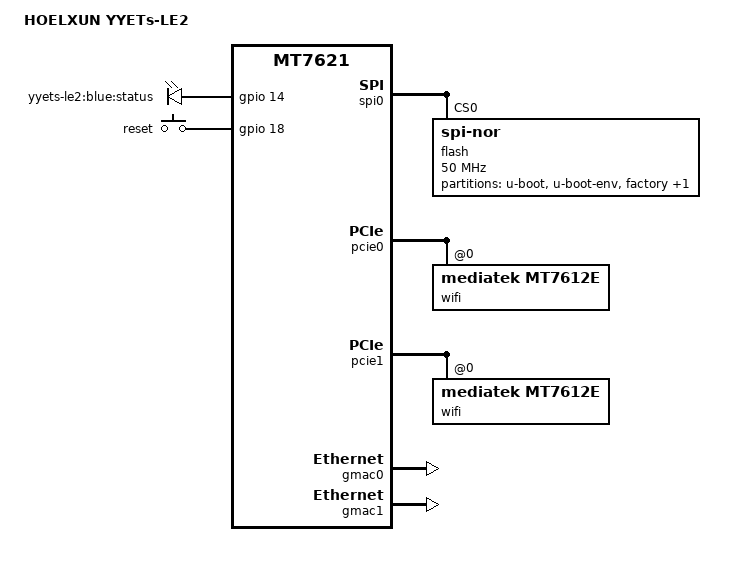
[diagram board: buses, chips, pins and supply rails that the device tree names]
// SPDX-License-Identifier: GPL-2.0-or-later OR MIT
// HOELXUN YYETs-LE2 (MT7621AT + 32MB SPI NOR + 2x MT7612E)
// 基于上传固件 DTB + factory.bin 备份定稿
// 已确认: 512MB DDR3 / eeprom#1@factory 0x0 (MAC ..61) / eeprom#2@factory 0x8000 (MAC ..62)
//         LAN MAC @factory 0x2c (..5F) / WAN MAC @factory 0x32 (..60)
// 编译配套: mt7621.mk 设备定义 DEVICE_PACKAGES 需含
//   板载/USB无线: kmod-mt76x2 kmod-rtl8188eu kmod-rt2800-usb
//   USB: kmod-usb3 kmod-usb2 kmod-usb-storage kmod-fs-exfat kmod-fs-vfat
//        kmod-fs-ext4 kmod-fs-ntfs3 block-mount usbutils
//   手机/随身WiFi: kmod-usb-net kmod-usb-net-rndis kmod-usb-net-cdc-ether
//        kmod-usb-net-cdc-eem kmod-usb-net-cdc-mbim kmod-usb-net-ipheth usb-modeswitch
//   中继: relayd
//   抓包: aircrack-ng tcpdump horst iw
//   VPN: kmod-wireguard wireguard-tools luci-proto-wireguard
//   加速: kmod-nf-flow（MT7621 无硬件HNAT，仅软件flowtable）

/dts-v1/;

#include "mt7621.dtsi"

#include <dt-bindings/gpio/gpio.h>
#include <dt-bindings/input/input.h>

/ {
	compatible = "hoolxun,yyets-le2", "mediatek,mt7621-soc";
	model = "HOELXUN YYETs-LE2";

	aliases {
		led-boot = &led_status;
		led-failsafe = &led_status;
		led-running = &led_status;
		label-mac-device = &gmac0;
	};

	// 512MB 内存不写 memory 节点，由 MT7621 芯片 mem_detect 自动检测（与官方 325 个 mt7621 设备一致）
	// 注意：root #address-cells=1，若写 reg=<0x0 0x0 0x0 0x20000000> 会解析成两对(addr,size)导致 syscon panic

	leds {
		compatible = "gpio-leds";

		led_status: status {
			label = "yyets-le2:blue:status";
			gpios = <&gpio 14 GPIO_ACTIVE_HIGH>;
		};
	};

	keys {
		compatible = "gpio-keys-polled";
		poll-interval = <20>;

		reset {
			label = "reset";
			gpios = <&gpio 18 GPIO_ACTIVE_HIGH>;
			linux,code = <KEY_RESTART>;
		};
	};
};

&spi0 {
	status = "okay";

	flash@0 {
		compatible = "jedec,spi-nor";
		reg = <0>;
		spi-max-frequency = <50000000>;

		partitions {
			compatible = "fixed-partitions";
			#address-cells = <1>;
			#size-cells = <1>;

			partition@0 {
				label = "u-boot";
				reg = <0x0 0x30000>;
				read-only;
			};

			partition@30000 {
				label = "u-boot-env";
				reg = <0x30000 0x10000>;
				read-only;
			};

			factory: partition@40000 {
				label = "factory";
				reg = <0x40000 0x10000>;
				read-only;

				compatible = "nvmem-cells";
				#address-cells = <1>;
				#size-cells = <1>;

				macaddr_factory_2c: macaddr@2c {
					reg = <0x2c 0x6>; // LAN MAC 0C:EF:AF:B3:04:5F
				};

				macaddr_factory_32: macaddr@32 {
					reg = <0x32 0x6>; // WAN MAC 0C:EF:AF:B3:04:60
				};
			};

			partition@50000 {
				label = "firmware";
				reg = <0x50000 0x1fb0000>;
			};
		};
	};
};

&pcie0 {
	status = "okay";

	wifi@0,0 {
		compatible = "mediatek,mt7612e";
		reg = <0x0000 0 0 0 0>;
		mediatek,mtd-eeprom = <&factory 0x0>;      // eeprom#1, MAC 0C:EF:AF:B3:04:61
	};
};

&pcie1 {
	status = "okay";

	wifi@0,0 {
		compatible = "mediatek,mt7612e";
		reg = <0x0000 0 0 0 0>;
		mediatek,mtd-eeprom = <&factory 0x8000>;   // eeprom#2, MAC 0C:EF:AF:B3:04:62
	};
};

&gmac0 {
	status = "okay";

	nvmem-cells = <&macaddr_factory_2c>;
	nvmem-cell-names = "mac-address";
};

&gmac1 {
	status = "okay";

	nvmem-cells = <&macaddr_factory_32>;
	nvmem-cell-names = "mac-address";
};
